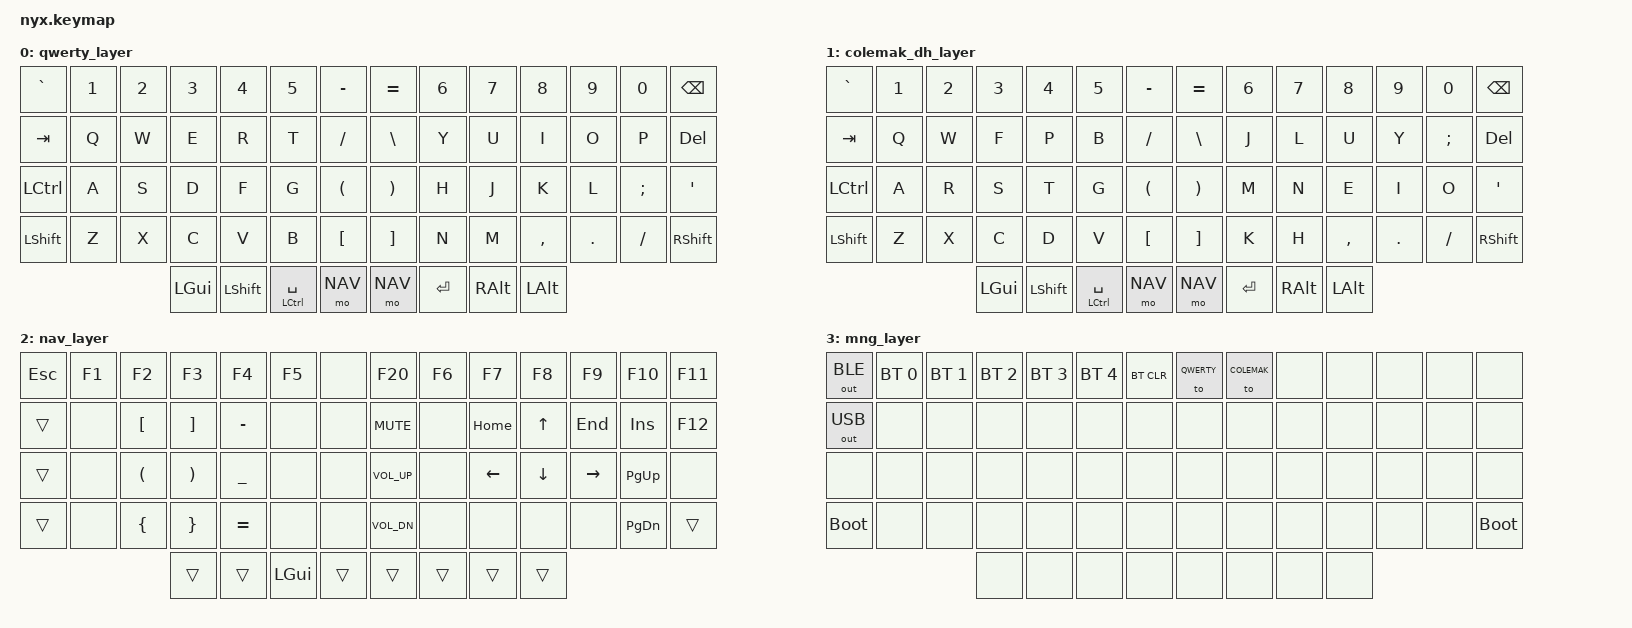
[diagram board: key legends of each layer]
/* -*- mode: dts; -*-
 *
 * Copyright (c) 2020 Tad Fisher
 *
 * SPDX-License-Identifier: MIT
 */

#include <behaviors.dtsi>
#include <dt-bindings/zmk/keys.h>
#include <dt-bindings/zmk/bt.h>
#include <dt-bindings/zmk/outputs.h>

#define QWERTY  0
#define COLEMAK 1
#define NAV     2
#define MNG     3

/ {
    behaviors {
        // This is mod-tap with the "balanced" flavor.
        // Improves the '&mt RCTRL SPACE' behavior when typing quickly.
        bmt: balanced_mod_tap {
			compatible = "zmk,behavior-hold-tap";
			label = "MOD_TAP";
			#binding-cells = <2>;
			flavor = "balanced";
			tapping-term-ms = <200>;
			bindings = <&kp>, <&kp>;
        };
    };
    keymap {
        compatible = "zmk,keymap";

        qwerty_layer {
            // | `       | 1    | 2    | 3      | 4       | 5              | -       | =       | 6     | 7      | 8       | 9     | 0      | BSPC    |
            // | TAB     | Q    | W    | E      | R       | T              | //      | \\      | Y     | U      | I       | O     | P      | DEL     |
            // | LCTRL   | A    | S    | D      | F       | G              | (       | )       | H     | J      | K       | L     | ;      | '       |
            // | LSHIFT  | Z    | X    | C      | V       | B              | [       | ]       | N     | M      | ,       | .     | //     | RSHIFT  |
            // |         |      |      | LGUI   | LSHIFT  | LCTRL/SPACE    | NAV     | NAV     | RET   | RALT   | LALT    |       |        |         |
            bindings = <
                &kp GRAVE &kp N1 &kp N2 &kp N3   &kp N4    &kp N5           &kp MINUS &kp EQUAL &kp N6  &kp N7   &kp N8    &kp N9  &kp N0   &kp BSPC
                &kp TAB   &kp Q  &kp W  &kp E    &kp R     &kp T            &kp FSLH  &kp BSLH  &kp Y   &kp U    &kp I     &kp O   &kp P    &kp DEL
                &kp LCTRL &kp A  &kp S  &kp D    &kp F     &kp G            &kp LPAR  &kp RPAR  &kp H   &kp J    &kp K     &kp L   &kp SEMI &kp APOS
                &kp LSHFT &kp Z  &kp X  &kp C    &kp V     &kp B            &kp LBKT  &kp RBKT  &kp N   &kp M    &kp COMMA &kp DOT &kp FSLH &kp RSHFT
                                        &kp LGUI &kp LSHFT &bmt LCTRL SPACE &mo NAV   &mo NAV   &kp RET &kp RALT &kp LALT
            >;
        };

        colemak_dh_layer {
            // | `       | 1    | 2    | 3      | 4       | 5              | -       | =       | 6     | 7      | 8       | 9     | 0      | BSPC    |
            // | TAB     | Q    | W    | F      | P       | B              | //      | \\      | J     | L      | U       | Y     | ;      | DEL     |
            // | LCTRL   | A    | R    | S      | T       | G              | (       | )       | M     | N      | E       | I     | O      | '       |
            // | LSHIFT  | Z    | X    | C      | D       | V              | [       | ]       | K     | H      | ,       | .     | //     | RSHIFT  |
            // |         |      |      | LGUI   | LSHIFT  | LCTRL/SPACE    | NAV     | NAV     | RET   | RALT   | LALT    |       |        |         |
            bindings = <
                &kp GRAVE &kp N1 &kp N2 &kp N3   &kp N4    &kp N5           &kp MINUS &kp EQUAL &kp N6  &kp N7   &kp N8    &kp N9  &kp N0   &kp BSPC
                &kp TAB   &kp Q  &kp W  &kp F    &kp P     &kp B            &kp FSLH  &kp BSLH  &kp J   &kp L    &kp U     &kp Y   &kp SEMI &kp DEL
                &kp LCTRL &kp A  &kp R  &kp S    &kp T     &kp G            &kp LPAR  &kp RPAR  &kp M   &kp N    &kp E     &kp I   &kp O    &kp APOS
                &kp LSHFT &kp Z  &kp X  &kp C    &kp D     &kp V            &kp LBKT  &kp RBKT  &kp K   &kp H    &kp COMMA &kp DOT &kp FSLH &kp RSHFT
                                        &kp LGUI &kp LSHFT &bmt LCTRL SPACE &mo NAV   &mo NAV   &kp RET &kp RALT &kp LALT
            >;
        };

        nav_layer {
            // | ESC   | F1   | F2     | F3     | F4      | F5     |      | F20 (MIC)  | F6   | F7     | F8     | F9      | F10     | F11   |
            // |       |      | [      | ]      | -       |        |      | MUTE       |      | HOME   | ↑      | END     | INS     | F12   |
            // |       |      | (      | )      | _       |        |      | VOL+       |      | ←      | ↓      | →       | PG UP   |       |
            // |       |      | {      | }      | =       |        |      | VOL-       |      |        |        |         | PG DN   |       |
            // |       |      |        |        |         | LGUI   |      |            |      |        |        |         |         |       |
            bindings = <
                &kp ESC &kp F1 &kp F2   &kp F3   &kp F4    &kp F5   &none  &kp F20      &kp F6 &kp F7   &kp F8   &kp F9    &kp F10   &kp F11
                &trans  &none  &kp LBKT &kp RBKT &kp MINUS &none    &none  &kp K_MUTE   &none  &kp HOME &kp UP   &kp END   &kp INS   &kp F12
                &trans  &none  &kp LPAR &kp RPAR &kp UNDER &none    &none  &kp K_VOL_UP &none  &kp LEFT &kp DOWN &kp RIGHT &kp PG_UP &none
                &trans  &none  &kp LBRC &kp RBRC &kp EQUAL &none    &none  &kp K_VOL_DN &none  &none    &none    &none     &kp PG_DN &trans
                                        &trans   &trans    &kp LGUI &trans &trans       &trans &trans   &trans

            >;
        };

        mng_layer {
            // | OUT_BLE    | BT_SEL 0   | BT_SEL 1   | BT_SEL 2   | BT_SEL 3   | BT_SEL 4   | BT_CLR   | QWERTY   | COLEMAK   |     |     |     |     |            |
            // | OUT_USB    |            |            |            |            |            |          |          |           |     |     |     |     |            |
            // |            |            |            |            |            |            |          |          |           |     |     |     |     |            |
            // |            |            |            |            |            |            |          |          |           |     |     |     |     |            |
            // | bootloader |            |            |            |            |            |          |          |           |     |     |     |     | bootloader |
            bindings = <
                &out OUT_BLE &bt BT_SEL 0 &bt BT_SEL 1 &bt BT_SEL 2 &bt BT_SEL 3 &bt BT_SEL 4 &bt BT_CLR &to QWERTY &to COLEMAK &none &none &none &none &none
                &out OUT_USB &none        &none        &none        &none        &none        &none      &none      &none       &none &none &none &none &none
                &none        &none        &none        &none        &none        &none        &none      &none      &none       &none &none &none &none &none
                &bootloader  &none        &none        &none        &none        &none        &none      &none      &none       &none &none &none &none &bootloader
                                                       &none        &none        &none        &none      &none      &none       &none &none

            >;
        };
    };

    combos {
        compatible = "zmk,combos";
        combo_mngl {
            timeout-ms = <50>;
            key-positions = <56 57 58 59>;
            bindings = <&mo MNG>;
        };
        combo_mngr {
            timeout-ms = <50>;
            key-positions = <60 61 62 63>;
            bindings = <&mo MNG>;
        };
    };
};
